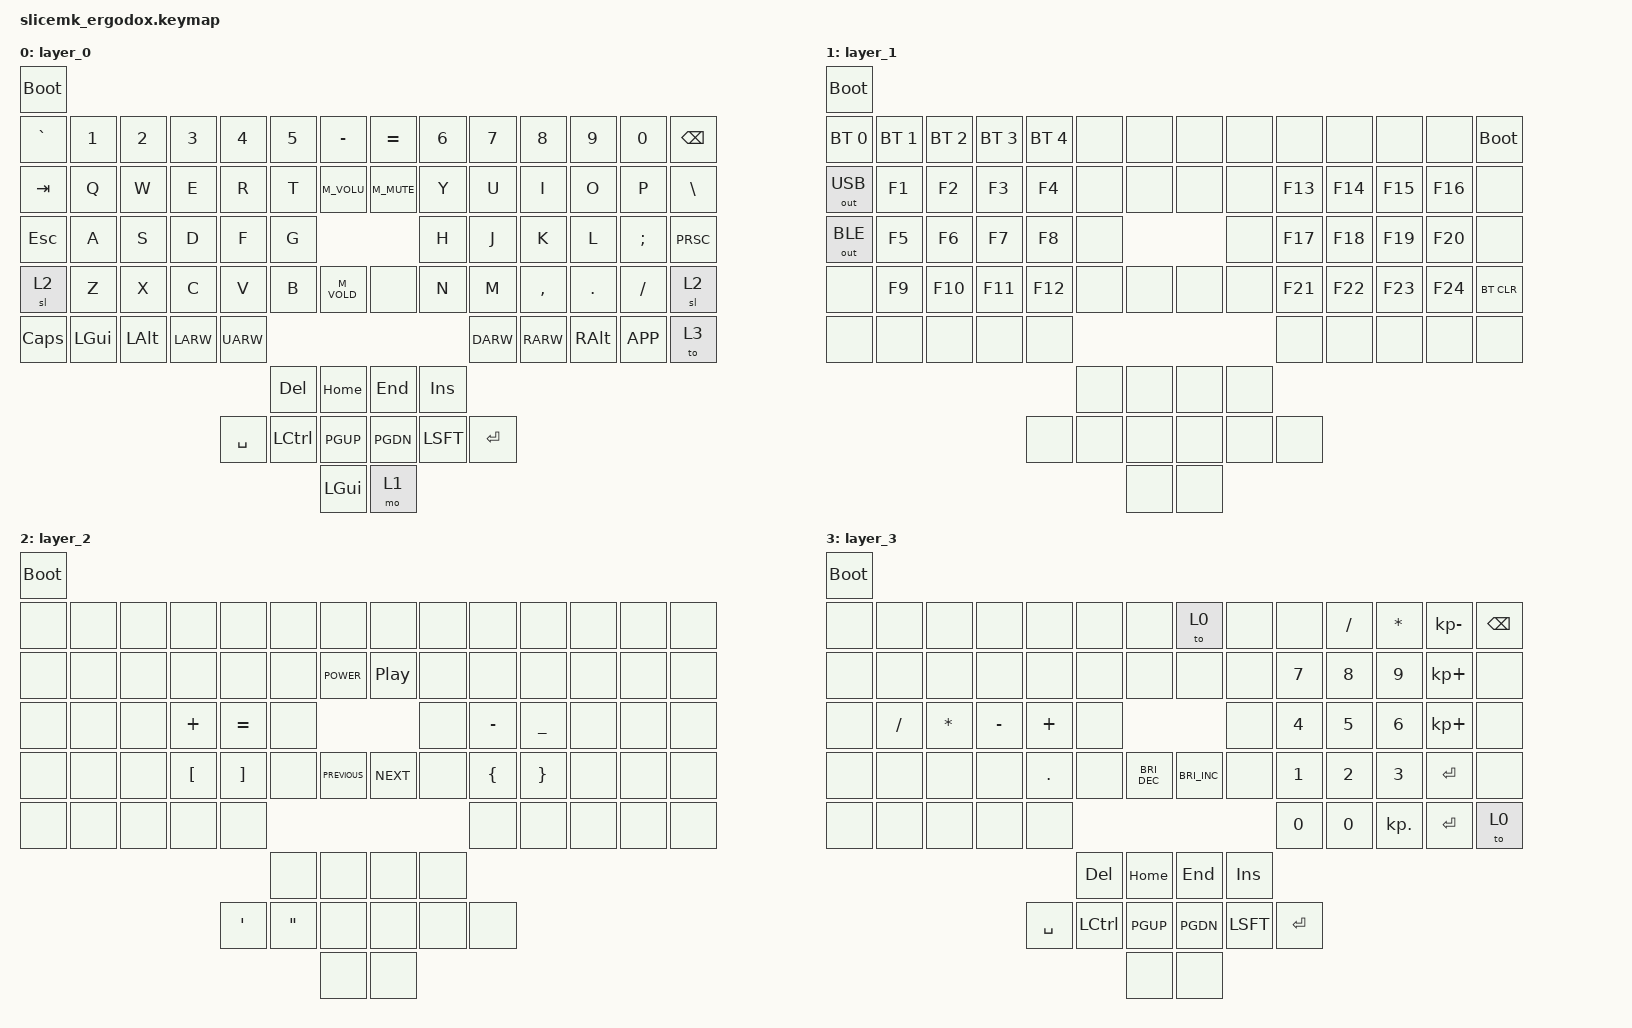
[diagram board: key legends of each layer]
#include <behaviors.dtsi>
#include <dt-bindings/zmk/bt.h>
#include <dt-bindings/zmk/keys.h>
#include <dt-bindings/zmk/outputs.h>

/ {
	keymap {
		compatible = "zmk,keymap";

		layer_0 {
			bindings = <
				&bootloader
				&kp GRAV &kp NUMBER_1 &kp NUMBER_2 &kp NUMBER_3 &kp NUMBER_4 &kp NUMBER_5 &kp MINUS  &kp EQUAL  &kp NUMBER_6 &kp NUMBER_7 &kp NUMBER_8 &kp NUMBER_9 &kp NUMBER_0  &kp BKSP
				&kp TAB  &kp Q        &kp W        &kp E        &kp R        &kp T        &kp M_VOLU &kp M_MUTE &kp Y        &kp U        &kp I        &kp O        &kp P         &kp BSLH
				&kp ESC  &kp A        &kp S        &kp D        &kp F        &kp G                              &kp H        &kp J        &kp K        &kp L        &kp SEMICOLON &kp PRSC
				&sl 2    &kp Z        &kp X        &kp C        &kp V        &kp B        &kp M_VOLD &none      &kp N        &kp M        &kp CMMA     &kp DOT      &kp FSLH      &sl 2
				&kp CLCK &kp LGUI     &kp LALT     &kp LARW     &kp UARW                                                     &kp DARW     &kp RARW     &kp RALT     &kp K_APP     &to 3
				                                                             &kp DEL      &kp HOME   &kp END    &kp INS
				                                              	&kp SPC      &kp LCTL     &kp PGUP   &kp PGDN   &kp LSFT     &kp RET
				                                                                          &kp LGUI   &mo 1
			>;
		};

		layer_1 {
			bindings = <
				&bootloader
				&bt BT_SEL 0 &bt BT_SEL 1 &bt BT_SEL 2 &bt BT_SEL 3 &bt BT_SEL 4 &none &none &none &none &none   &none   &none   &none   &bootloader
				&out OUT_USB &kp F1       &kp F2       &kp F3       &kp F4       &none &none &none &none &kp F13 &kp F14 &kp F15 &kp F16 &none
				&out OUT_BLE &kp F5       &kp F6       &kp F7       &kp F8       &none             &none &kp F17 &kp F18 &kp F19 &kp F20 &none
				&none        &kp F9       &kp F10      &kp F11      &kp F12      &none &none &none &none &kp F21 &kp F22 &kp F23 &kp F24 &bt BT_CLR
				&none        &none        &none        &none        &none                                &none   &none   &none   &none   &none
				                                                                 &none &none &none &none
				                                                    &none        &none &none &none &none &none
				                                                                       &none &none
			>;
		};

		layer_2 {
			bindings = <
				&bootloader
				&none &none &none &none    &none            &none             &none          &none            &none &none          &none           &none &none &none
				&none &none &none &none    &none            &none             &kp C_POWER    &kp C_PLAY_PAUSE &none &none          &none           &none &none &none
				&none &none &none &kp PLUS &kp EQUAL        &none                                             &none &kp MINUS      &kp UNDERSCORE  &none &none &none
				&none &none &none &kp LBKT &kp RBKT         &none             &kp C_PREVIOUS &kp C_NEXT       &none &kp LEFT_BRACE &kp RIGHT_BRACE &none &none &none
				&none &none &none &none    &none                                                                    &none          &none           &none &none &none
				                                            &none             &none          &none            &none
				                           &kp SINGLE_QUOTE &kp DOUBLE_QUOTES &none          &none            &none &none
				                                                              &none          &none
			>;
		};

		layer_3 {
			bindings = <
				&bootloader
				&none &none     &none        &none     &none    &none    &none                &to 0                &none 	&none        &kp SLASH    &kp ASTERISK &kp KP_MINUS &kp BKSP
				&none &none     &none        &none     &none    &none    &none                &none                &none 	&kp NUMBER_7 &kp NUMBER_8 &kp NUMBER_9 &kp KP_PLUS  &none
				&none &kp SLASH &kp ASTERISK &kp MINUS &kp PLUS &none                                              &none 	&kp NUMBER_4 &kp NUMBER_5 &kp NUMBER_6 &kp KP_PLUS  &none
				&none &none     &none        &none     &kp DOT  &none    &kp C_BRIGHTNESS_DEC &kp C_BRIGHTNESS_INC &none 	&kp NUMBER_1 &kp NUMBER_2 &kp NUMBER_3 &kp RET      &none
				&none &none     &none        &none     &none                                                             	&kp NUMBER_0 &kp NUMBER_0 &kp KP_DOT   &kp RET      &to 0
				                                                &kp DEL  &kp HOME   		  &kp END    		   &kp INS
				                                       &kp SPC  &kp LCTL &kp PGUP   		  &kp PGDN  		   &kp LSFT &kp RET
				                                                         &none                &none
			>;
		};
	};
};
